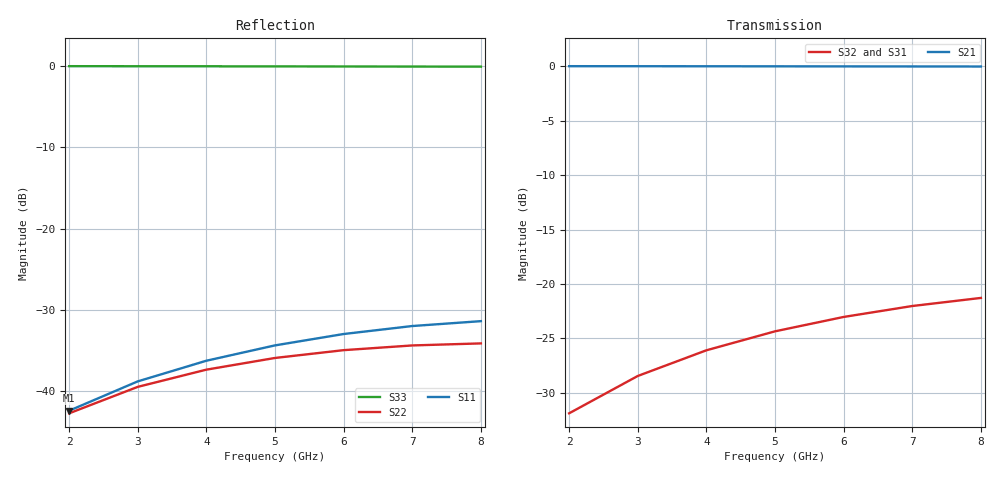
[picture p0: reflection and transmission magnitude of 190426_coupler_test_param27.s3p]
! Sonnet Data File
! From: emgraph Version : 16.56
! From Project: 190426_coupler_test
! Data is De-embedded
! Data File Written: 05/06/2019 15:59:44
!< HDATE 04/25/2019 10:48:44
!< MDATE 04/25/2019 10:59:35
!< PARAMS
!< tandelta = 0.0
!< t_aSi = 0.25
!< W = 10.0
!< Lcoupler = 2600.0
!< END PARAMS
# GHZ S MA R 50.0 !  non standard terminations in data
! TERM 50.00000 0.000000 50.00000 0.000000 63.84000 0.000000
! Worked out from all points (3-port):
!   7 points, 2 GHz to 8 GHz, reference 50 ohm
!   strongest paths, dB at 2 GHz, 3 GHz, 5 GHz, 7 GHz, 8 GHz:
!     S21: 0.0, 0.0, 0.0, 0.0, 0.0
!     S32: -31.9, -28.4, -24.3, -22.0, -21.3
!     S31: -31.9, -28.5, -24.5, -22.2, -21.5
!   lowest |S11| = -42.4 dB at 2 GHz (marker M1), VSWR 1.02, Z = 50.2 + j0.722 ohm
!   |S11| at or under -10 dB: start of sweep to end of sweep
2  0.007611 70.7  0.9996 -21.7  0.02542 48.5
   0.9996 -21.7  0.007335 70.4  0.0255 73.5
   0.02542 48.5  0.0255 73.5  0.9994 -36.7
3  0.01153 60.1  0.9992 -32.6  0.03758 27.7
   0.9992 -32.6  0.01067 60.6  0.03784 65.1
   0.03758 27.7  0.03784 65.1  0.9986 -55.1
4  0.01544 48.6  0.9987 -43.4  0.04909 6.9
   0.9987 -43.4  0.01361 50.9  0.04963 56.6
   0.04909 6.9  0.04963 56.6  0.9976 -73.6
5  0.01919 36.2  0.998 -54.3  0.05973 -14.0
   0.998 -54.3  0.01606 41.2  0.06064 48.0
   0.05973 -14.0  0.06064 48.0  0.9964 -92.2
6  0.02254 23.0  0.9973 -65.1  0.06927 -34.8
   0.9973 -65.1  0.01793 31.7  0.07061 39.3
   0.06927 -34.8  0.07061 39.3  0.9951 -110.8
7  0.02524 8.9  0.9967 -75.9  0.07753 -55.7
   0.9967 -75.9  0.01917 22.2  0.07925 30.5
   0.07753 -55.7  0.07925 30.5  0.9938 -129.6
8  0.02704 -5.8  0.9961 -86.7  0.08432 -76.6
   0.9961 -86.7  0.01974 12.8  0.08632 21.5
   0.08432 -76.6  0.08632 21.5  0.9927 -148.4
